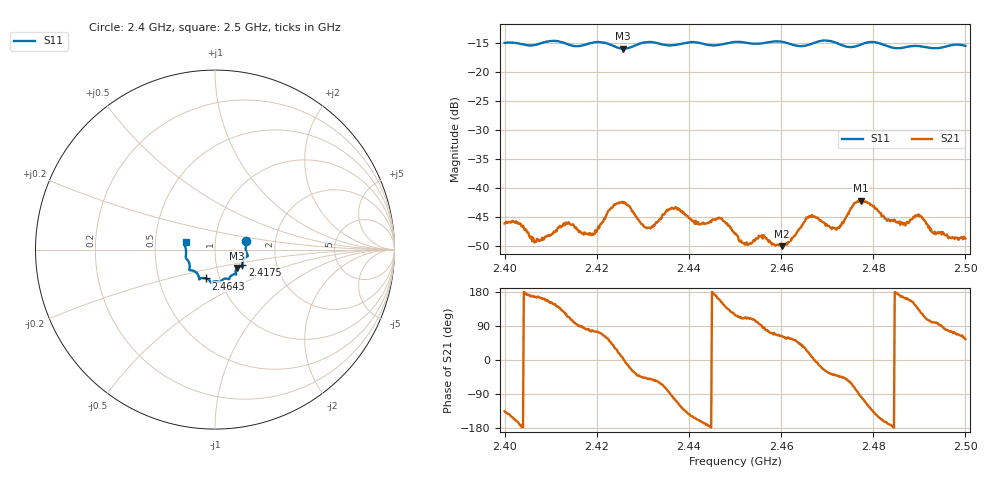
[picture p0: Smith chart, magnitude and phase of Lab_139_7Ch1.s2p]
# Hz S RI R 50
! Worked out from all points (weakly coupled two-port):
!   601 points, 2.4 GHz to 2.5 GHz, reference 50 ohm
!   highest |S21| = -42.13 dB at 2.4773 GHz (marker M1); lowest = -50.0 dB at 2.4602 GHz (marker M2)
!   lowest |S11| = -15.9 dB at 2.4257 GHz (marker M3), VSWR 1.38, Z = 62.5 - j13.1 ohm
!   |S11| at or under -10 dB: start of sweep to end of sweep
!   S12 and S22 are empty: the file has one direction only
!   S11 on the Smith chart (normalised r, x): 2.4 GHz: 1.41, +0.14; 2.4175 GHz: 1.34, -0.23; 2.4643 GHz: 0.86, -0.29; 2.5 GHz: 0.72, +0.06
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2.4e9  0.1729 0.0485  -0.00353 -0.00348  0 0  0 0
2.403e9  0.1744 0.0346  -0.00475 -0.00124  0 0  0 0
2.4065e9  0.172 -0.00438  -0.0033 0.000772  0 0  0 0
2.413333e9  0.1714 -0.043  -0.00268 0.00429  0 0  0 0
2.416667e9  0.1526 -0.0742  0.000184 0.00411  0 0  0 0
2.4175e9  0.1517 -0.0836  0.000573 0.00399  0 0  0 0
2.425667e9  0.1229 -0.1022  0.0076 0.000629  0 0  0 0
2.430667e9  0.1184 -0.1383  0.00311 -0.00337  0 0  0 0
2.433333e9  0.1129 -0.1372  0.00278 -0.00437  0 0  0 0
2.4375e9  0.0846 -0.1514  -0.00247 -0.00605  0 0  0 0
2.442167e9  0.0736 -0.1639  -0.00455 -0.00173  0 0  0 0
2.446833e9  0.0416 -0.1681  -0.005 0.00222  0 0  0 0
2.45e9  0.0289 -0.1809  -0.00192 0.00354  0 0  0 0
2.460167e9  -0.0245 -0.1818  0.00142 0.00282  0 0  0 0
2.464333e9  -0.0499 -0.1608  0.00341 0.00306  0 0  0 0
2.466667e9  -0.076 -0.1593  0.00583 0.000751  0 0  0 0
2.472167e9  -0.0888 -0.1551  0.00342 -0.00302  0 0  0 0
2.477333e9  -0.1296 -0.1156  -0.000876 -0.00777  0 0  0 0
2.483333e9  -0.1406 -0.0899  -0.00528 -0.001  0 0  0 0
2.49e9  -0.1634 -0.0406  -0.00381 0.00428  0 0  0 0
2.493167e9  -0.1609 -0.012  -0.000632 0.00401  0 0  0 0
2.5e9  -0.164 0.0428  0.00211 0.00301  0 0  0 0
